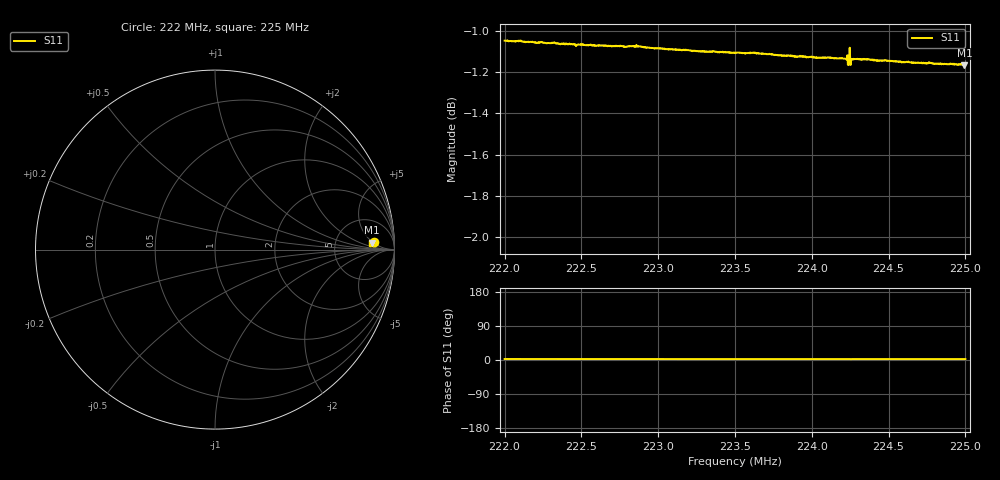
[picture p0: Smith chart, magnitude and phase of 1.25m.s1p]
! Calibrated averaged scanner-service zoom
# Hz S RI R 50
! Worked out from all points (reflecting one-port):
!   1001 points, 222 MHz to 225 MHz, reference 50 ohm
!   lowest |S11| = -1.2 dB at 224.99 MHz (marker M1), VSWR 14.93, Z = 677 + j217 ohm
!   phase of S11 starts at 3 deg and turns -0 deg over the sweep
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2.22e8  0.8856 0.0409
2.22096e8  0.8853 0.0406
2.22282e8  0.8845 0.04
2.22321e8  0.8847 0.0401
2.22375e8  0.8842 0.0403
2.2275e8  0.883 0.0392
2.22786e8  0.8826 0.0389
2.22873e8  0.8829 0.0389
2.22963e8  0.882 0.0386
2.23125e8  0.8813 0.0381
2.2338e8  0.8802 0.038
2.235e8  0.8799 0.0375
2.23623e8  0.8798 0.0374
2.23875e8  0.8782 0.037
2.24196e8  0.8772 0.0372
2.24217e8  0.8768 0.0371
2.24226e8  0.8764 0.0369
2.24232e8  0.8785 0.0374
2.24235e8  0.874 0.0354
2.24238e8  0.8764 0.0371
2.2425e8  0.8763 0.0373
2.24259e8  0.8767 0.0375
2.24265e8  0.8764 0.0373
2.24274e8  0.8766 0.0372
2.24304e8  0.8766 0.0369
2.24625e8  0.8752 0.0369
2.24994e8  0.8737 0.0378
2.25e8  0.874 0.0376
